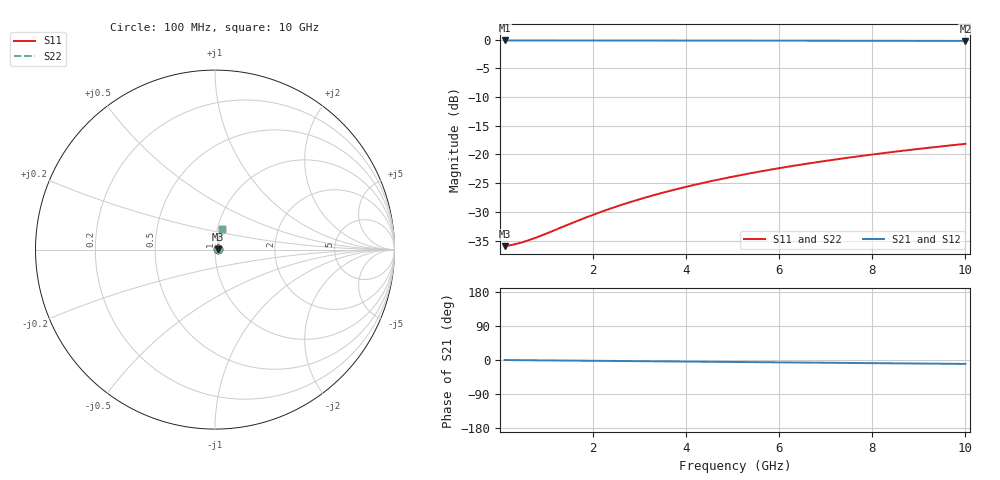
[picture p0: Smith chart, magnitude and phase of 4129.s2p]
# Hz S RI R 50.00
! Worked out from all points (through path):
!   100 points, 100 MHz to 10 GHz, reference 50 ohm
!   highest |S21| = -0.14 dB at 100 MHz (marker M1); lowest = -0.2 dB at 10 GHz (marker M2)
!   group delay of S21, straight-line fit = 2.87 ps
!   lowest |S11| = -36.0 dB at 100 MHz (marker M3), VSWR 1.03, Z = 51.6 + j0.125 ohm
!   |S11| at or under -10 dB: start of sweep to end of sweep
!   |S22| runs from -36.0 to -18.2 dB; largest |S21 - S12| = 0
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1e8  0.0158 0.00121  0.9842 -0.00178  0.9842 -0.00178  0.0158 0.00121
3e8  0.016 0.00363  0.984 -0.00534  0.984 -0.00534  0.016 0.00363
4e8  0.0161 0.00484  0.9839 -0.00713  0.9839 -0.00713  0.0161 0.00484
5e8  0.0162 0.00605  0.9838 -0.00891  0.9838 -0.00891  0.0162 0.00605
7e8  0.0163 0.00846  0.9837 -0.0125  0.9837 -0.0125  0.0163 0.00846
1e9  0.0165 0.0121  0.9835 -0.0178  0.9835 -0.0178  0.0165 0.0121
1.8e9  0.0172 0.0217  0.9827 -0.032  0.9827 -0.032  0.0172 0.0217
2.2e9  0.0176 0.0265  0.9823 -0.0391  0.9823 -0.0391  0.0176 0.0265
2.6e9  0.0181 0.0313  0.9818 -0.0462  0.9818 -0.0462  0.0181 0.0313
3e9  0.0187 0.0361  0.9812 -0.0533  0.9812 -0.0533  0.0187 0.0361
3.4e9  0.0193 0.0409  0.9805 -0.0604  0.9805 -0.0604  0.0193 0.0409
3.8e9  0.02 0.0457  0.9798 -0.0674  0.9798 -0.0674  0.02 0.0457
4.2e9  0.0207 0.0505  0.979 -0.0745  0.979 -0.0745  0.0207 0.0505
4.6e9  0.0215 0.0552  0.9781 -0.0815  0.9781 -0.0815  0.0215 0.0552
5.1e9  0.0226 0.0611  0.9769 -0.0903  0.9769 -0.0903  0.0226 0.0611
5.5e9  0.0236 0.0658  0.9759 -0.0973  0.9759 -0.0973  0.0236 0.0658
5.9e9  0.0246 0.0705  0.9748 -0.1043  0.9748 -0.1043  0.0246 0.0705
6.7e9  0.0269 0.0799  0.9724 -0.1182  0.9724 -0.1182  0.0269 0.0799
7.5e9  0.0294 0.0891  0.9697 -0.132  0.9697 -0.132  0.0294 0.0891
8.4e9  0.0325 0.0994  0.9663 -0.1475  0.9663 -0.1475  0.0325 0.0994
9.2e9  0.0356 0.1085  0.963 -0.1611  0.963 -0.1611  0.0356 0.1085
1e10  0.0389 0.1174  0.9594 -0.1747  0.9594 -0.1747  0.0389 0.1174
